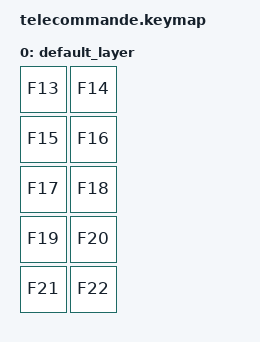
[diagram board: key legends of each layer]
#include <behaviors.dtsi>
#include <dt-bindings/zmk/keys.h>
#include <dt-bindings/zmk/bt.h>

/ {
    combos {
        compatible = "zmk,combos";
        
        combo_bt_clear {
            timeout-ms = <50>;
            key-positions = <8 9>; 
            bindings = <&bt BT_CLR>;
        };

        combo_bootloader {
            timeout-ms = <50>;
            key-positions = <0 1>; 
            bindings = <&bootloader>;
        };
    };

    keymap {
        compatible = "zmk,keymap";

        default_layer {
            bindings = <
                &kp F13    &kp F14
                &kp F15    &kp F16
                &kp F17    &kp F18
                &kp F19    &kp F20
                &kp F21    &kp F22
            >;
        };
    };
};
